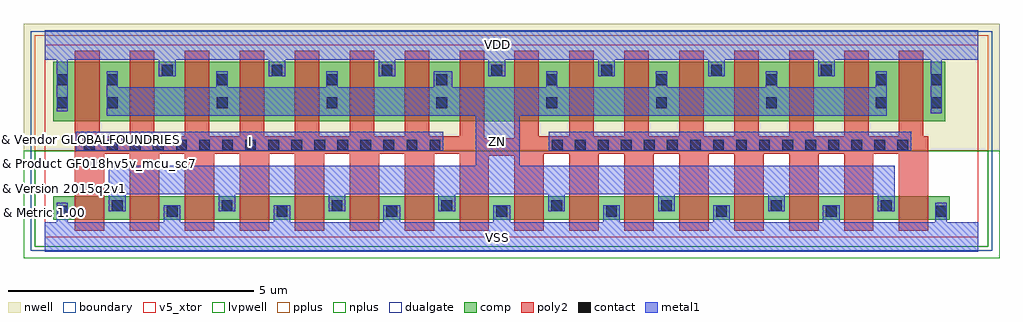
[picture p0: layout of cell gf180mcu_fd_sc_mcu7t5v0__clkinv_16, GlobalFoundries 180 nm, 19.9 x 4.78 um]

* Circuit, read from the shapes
.subckt gf180mcu_fd_sc_mcu7t5v0__clkinv_16 I VDD VSS ZN
XM1 ZN I VSS VSUBS nfet_05v0 w=0.48u l=0.6u m=16
XM2 ZN I VDD n1 pfet_05v0 w=1.22u l=0.5u m=16
.ends

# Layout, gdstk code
import gdstk
lib = gdstk.Library(unit=1e-6, precision=1e-09)
def R(c, l, rs):  # rectangles x0, y0, x1, y1
    for r in rs: c.add(gdstk.rectangle(r[:2], r[2:], *l))
def A(c, l, x, y, w, h, nx, ny, dx, dy):  # array of equal rectangles
    R(c, l, [(x+i*dx, y+j*dy, x+i*dx+w, y+j*dy+h) for i in range(nx) for j in range(ny)])
def P(c, l, *ps):  # polygons
    for p in ps: c.add(gdstk.Polygon(p, *l))
boundary = (0, 0)
nwell = (21, 0)
comp = (22, 0)
poly2 = (30, 0)
pplus = (31, 0)
nplus = (32, 0)
contact = (33, 0)
metal1 = (34, 0)
dualgate = (55, 0)
v5_xtor = (112, 1)
lvpwell = (204, 0)

gf180mcu_fd_sc_mcu7t5v0_ = lib.new_cell('gf180mcu_fd_sc_mcu7t5v0__clkinv_16')
R(gf180mcu_fd_sc_mcu7t5v0_, boundary, [(0,0,19.04,3.92)])
R(gf180mcu_fd_sc_mcu7t5v0_, nwell, [(-0.43,1.76,19.47,4.35)])
R(gf180mcu_fd_sc_mcu7t5v0_, comp, [(0.18,0.35,18.46,0.83), (0.18,2.36,18.36,3.58)])
P(gf180mcu_fd_sc_mcu7t5v0_, poly2, [(0.62,0.13),(0.62,3.8),(1.12,3.8),(1.12,2.06),(1.74,2.06),(1.74,3.8),(2.24,3.8),(2.24,2.06),(2.86,2.06),(2.86,3.8),(3.36,3.8),(3.36,2.06),(3.98,2.06),(3.98,3.8),(4.48,3.8),(4.48,2.06),(5.1,2.06),(5.1,3.8),(5.6,3.8),(5.6,2.06),(6.22,2.06),(6.22,3.8),(6.72,3.8),(6.72,2.06),(7.34,2.06),(7.34,3.8),(7.84,3.8),(7.84,2.06),(8.46,2.06),(8.46,3.8),(8.96,3.8),(8.96,2.015),(9.58,2.015),(9.58,3.8),(10.08,3.8),(10.08,2.06),(10.7,2.06),(10.7,3.8),(11.2,3.8),(11.2,2.06),(11.82,2.06),(11.82,3.8),(12.32,3.8),(12.32,2.06),(12.94,2.06),(12.94,3.8),(13.44,3.8),(13.44,2.06),(14.06,2.06),(14.06,3.8),(14.56,3.8),(14.56,2.06),(15.18,2.06),(15.18,3.8),(15.68,3.8),(15.68,2.06),(16.3,2.06),(16.3,3.8),(16.8,3.8),(16.8,2.06),(17.42,2.06),(17.42,3.8),(17.92,3.8),(17.92,2.06),(18.02,2.06),(18.02,0.13),(17.42,0.13),(17.42,1.7),(16.9,1.7),(16.9,0.13),(16.3,0.13),(16.3,1.7),(15.78,1.7),(15.78,0.13),(15.18,0.13),(15.18,1.7),(14.66,1.7),(14.66,0.13),(14.06,0.13),(14.06,1.7),(13.54,1.7),(13.54,0.13),(12.94,0.13),(12.94,1.7),(12.42,1.7),(12.42,0.13),(11.82,0.13),(11.82,1.7),(11.3,1.7),(11.3,0.13),(10.7,0.13),(10.7,1.7),(10.18,1.7),(10.18,0.13),(9.58,0.13),(9.58,1.655),(9.06,1.655),(9.06,0.13),(8.46,0.13),(8.46,1.7),(7.94,1.7),(7.94,0.13),(7.34,0.13),(7.34,1.7),(6.82,1.7),(6.82,0.13),(6.22,0.13),(6.22,1.7),(5.7,1.7),(5.7,0.13),(5.1,0.13),(5.1,1.7),(4.58,1.7),(4.58,0.13),(3.98,0.13),(3.98,1.7),(3.46,1.7),(3.46,0.13),(2.86,0.13),(2.86,1.7),(2.34,1.7),(2.34,0.13),(1.74,0.13),(1.74,1.7),(1.22,1.7),(1.22,0.13)])
R(gf180mcu_fd_sc_mcu7t5v0_, pplus, [(-0.2,1.76,19.24,4.12)])
R(gf180mcu_fd_sc_mcu7t5v0_, nplus, [(-0.2,-0.2,19.24,1.76)])
A(gf180mcu_fd_sc_mcu7t5v0_, contact, 0.25, 0.42, 0.22, 0.22, 9, 1, 2.24, 0)
A(gf180mcu_fd_sc_mcu7t5v0_, contact, 1.37, 0.535, 0.22, 0.22, 8, 1, 2.24, 0)
A(gf180mcu_fd_sc_mcu7t5v0_, contact, 0.8, 1.77, 0.22, 0.22, 16, 1, 0.47, 0)
A(gf180mcu_fd_sc_mcu7t5v0_, contact, 10.34, 1.77, 0.22, 0.22, 16, 1, 0.47, 0)
A(gf180mcu_fd_sc_mcu7t5v0_, contact, 1.27, 2.63, 0.22, 0.22, 8, 2, 2.24, 0.47)
A(gf180mcu_fd_sc_mcu7t5v0_, contact, 2.39, 3.29, 0.22, 0.22, 7, 1, 2.24, 0)
R(gf180mcu_fd_sc_mcu7t5v0_, contact, [(0.25,2.63,0.47,2.85), (18.07,2.63,18.29,2.85), (0.25,3.1,0.47,3.32), (18.07,3.1,18.29,3.32)])
R(gf180mcu_fd_sc_mcu7t5v0_, metal1, [(0.64,1.76,8.13,2.15), (10.28,1.765,17.67,2.15)])
P(gf180mcu_fd_sc_mcu7t5v0_, metal1, [(1.31,0.53),(1.31,1.455),(8.79,1.455),(8.79,2.475),(1.265,2.475),(1.265,3.38),(1.495,3.38),(1.495,3.055),(3.505,3.055),(3.505,3.38),(3.735,3.38),(3.735,3.055),(5.745,3.055),(5.745,3.38),(5.975,3.38),(5.975,3.055),(7.93,3.055),(7.93,3.38),(8.31,3.38),(8.31,3.055),(10.225,3.055),(10.225,3.38),(10.455,3.38),(10.455,3.055),(12.465,3.055),(12.465,3.38),(12.695,3.38),(12.695,3.055),(14.705,3.055),(14.705,3.38),(14.935,3.38),(14.935,3.055),(16.945,3.055),(16.945,3.38),(17.175,3.38),(17.175,2.475),(9.69,2.475),(9.69,1.455),(17.33,1.455),(17.33,0.53),(16.99,0.53),(16.99,0.875),(15.09,0.875),(15.09,0.53),(14.75,0.53),(14.75,0.875),(12.85,0.875),(12.85,0.53),(12.51,0.53),(12.51,0.875),(10.61,0.875),(10.61,0.53),(10.27,0.53),(10.27,0.875),(8.37,0.875),(8.37,0.53),(8.03,0.53),(8.03,0.875),(6.13,0.875),(6.13,0.53),(5.79,0.53),(5.79,0.875),(3.89,0.875),(3.89,0.53),(3.55,0.53),(3.55,0.875),(1.65,0.875),(1.65,0.53)],
  [(0,-0.3),(0,0.3),(0.245,0.3),(0.245,0.7),(0.475,0.7),(0.475,0.3),(2.43,0.3),(2.43,0.645),(2.77,0.645),(2.77,0.3),(4.67,0.3),(4.67,0.645),(5.01,0.645),(5.01,0.3),(6.91,0.3),(6.91,0.645),(7.25,0.645),(7.25,0.3),(9.15,0.3),(9.15,0.645),(9.49,0.645),(9.49,0.3),(11.39,0.3),(11.39,0.645),(11.73,0.645),(11.73,0.3),(13.63,0.3),(13.63,0.645),(13.97,0.645),(13.97,0.3),(15.87,0.3),(15.87,0.645),(16.21,0.645),(16.21,0.3),(18.165,0.3),(18.165,0.7),(18.395,0.7),(18.395,0.3),(19.04,0.3),(19.04,-0.3)],
  [(18.065,2.53),(18.065,3.62),(16.11,3.62),(16.11,3.285),(15.77,3.285),(15.77,3.62),(13.87,3.62),(13.87,3.285),(13.53,3.285),(13.53,3.62),(11.63,3.62),(11.63,3.285),(11.29,3.285),(11.29,3.62),(9.39,3.62),(9.39,3.285),(9.05,3.285),(9.05,3.62),(7.15,3.62),(7.15,3.285),(6.81,3.285),(6.81,3.62),(4.91,3.62),(4.91,3.285),(4.57,3.285),(4.57,3.62),(2.67,3.62),(2.67,3.285),(2.33,3.285),(2.33,3.62),(0.475,3.62),(0.475,2.57),(0.245,2.57),(0.245,3.62),(0,3.62),(0,4.22),(19.04,4.22),(19.04,3.62),(18.295,3.62),(18.295,2.53)])
R(gf180mcu_fd_sc_mcu7t5v0_, dualgate, [(-0.28,-0.28,19.32,4.2)])
R(gf180mcu_fd_sc_mcu7t5v0_, v5_xtor, [(0,0,19.04,3.92)])
R(gf180mcu_fd_sc_mcu7t5v0_, lvpwell, [(-0.43,-0.43,19.47,1.76)])
gf180mcu_fd_sc_mcu7t5v0_.add(gdstk.Label('VDD', (9.24,3.92), layer=34, texttype=10))
gf180mcu_fd_sc_mcu7t5v0_.add(gdstk.Label('VSS', (9.24,0), layer=34, texttype=10))
gf180mcu_fd_sc_mcu7t5v0_.add(gdstk.Label('ZN', (9.24,1.96), layer=34, texttype=10))
gf180mcu_fd_sc_mcu7t5v0_.add(gdstk.Label('I', (4.2,1.96), layer=34, texttype=10))
gf180mcu_fd_sc_mcu7t5v0_.add(gdstk.Label('& Vendor GLOBALFOUNDRIES', (0,2), layer=63, texttype=63))
gf180mcu_fd_sc_mcu7t5v0_.add(gdstk.Label('& Product GF018hv5v_mcu_sc7', (0,1.5), layer=63, texttype=63))
gf180mcu_fd_sc_mcu7t5v0_.add(gdstk.Label('& Version 2015q2v1', (0,1), layer=63, texttype=63))
gf180mcu_fd_sc_mcu7t5v0_.add(gdstk.Label('& Metric 1.00', (0,0.5), layer=63, texttype=63))

lib.write_gds('gf180mcu_fd_sc_mcu7t5v0__clkinv_16.gds')
